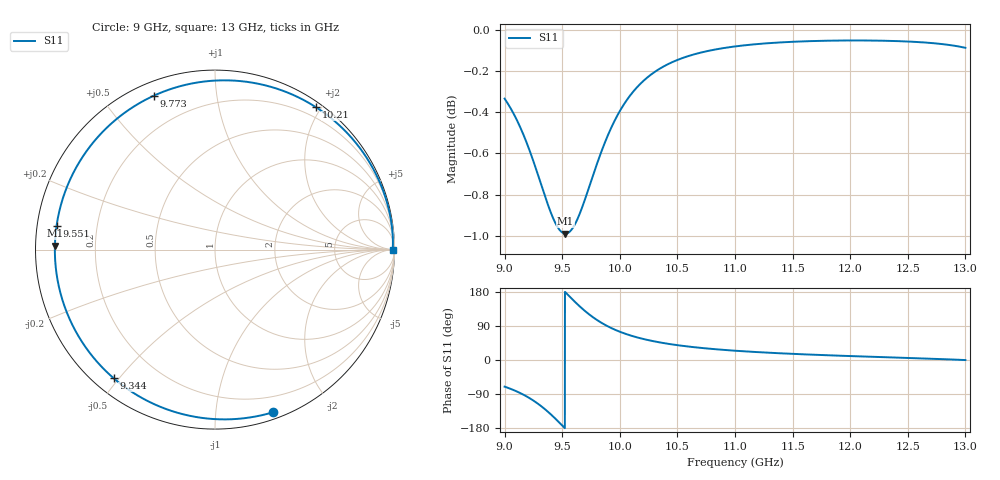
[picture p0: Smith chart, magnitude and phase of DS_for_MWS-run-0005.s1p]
! TOUCHSTONE file generated by CST DESIGN STUDIO
! Date and time: Tue Feb  4 17:14:55 2025
! Project name: C:\Work\MatlabApps\UnitCellOptimizationMatlab\CST\unitcell.cst
! Tree item: Tasks\Sweep1\SPara1\S-Parameters
! Header version: 2024
! Port assignment regex: !\s*Touchstone port\s*([0-9]+)\s*=\s*(CST MWS port|CST DES external port|CST DES block port)\s*(.+)\s* \(\"(.*)\"\)(\s*mode\s*([0-9]+))?.*
! Touchstone port assignment:
! Touchstone port 1 = CST DES external port 1 ("")
# GHz S MA R 50
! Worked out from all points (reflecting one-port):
!   4001 points, 9 GHz to 13 GHz, reference 50 ohm
!   lowest |S11| = -1.0 dB at 9.528 GHz (marker M1), VSWR 17.57, Z = 2.85 + j0.617 ohm
!   phase of S11 starts at -70 deg and turns -290 deg over the sweep
!   S11 on the Smith chart (normalised r, x): 9 GHz: 0.06, -1.42; 9.344 GHz: 0.06, -0.48; 9.551 GHz: 0.06, +0.07; 9.773 GHz: 0.06, +0.68; 10.21 GHz: 0.07, +1.93; 13 GHz: open
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9  0.9623 -70.3
9.095  0.9522 -81.5
9.202  0.9372 -98.0
9.276  0.9246 -112.5
9.344  0.9123 -128.3
9.386  0.9052 -139.2
9.43  0.8989 -151.6
9.466  0.895 -162.3
9.5  0.8929 -172.7
9.528  0.8923 178.6
9.551  0.8927 171.5
9.605  0.8964 155.0
9.666  0.9044 137.7
9.719  0.9132 124.0
9.773  0.9228 111.6
9.82  0.9309 102.0
9.872  0.9392 92.7
10  0.9556 74.6
10.102  0.965 63.9
10.215  0.9725 54.7
10.346  0.9785 46.5
10.5  0.9834 39.1
10.721  0.9877 31.4
11  0.9908 24.5
11.5  0.9934 16.2
12  0.9941 10.4
12.5  0.9936 5.4
13  0.9901 -0.1
